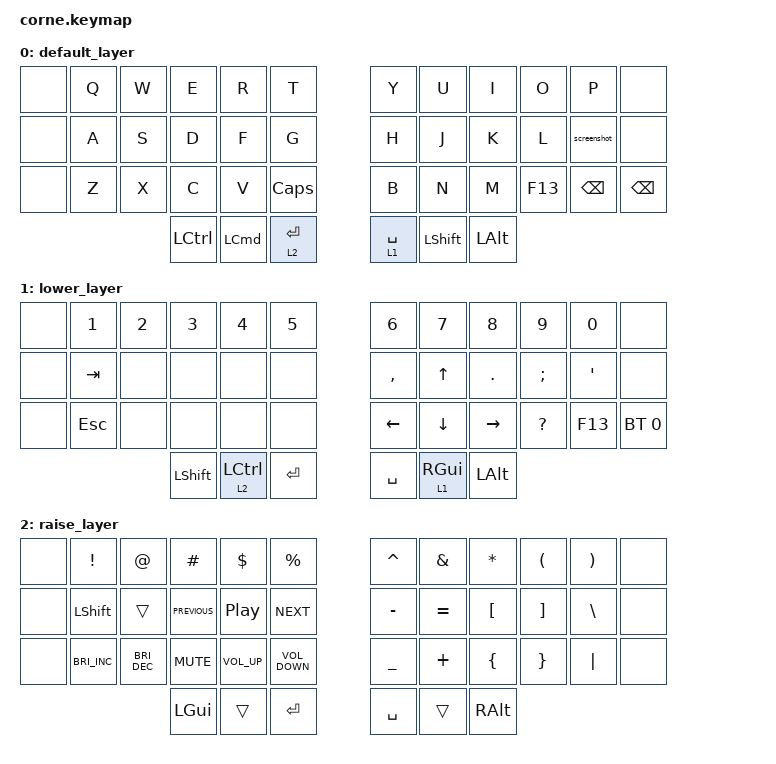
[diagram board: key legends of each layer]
/*
 * Copyright (c) 2020 The ZMK Contributors
 *
 * SPDX-License-Identifier: MIT
 */

#include <behaviors.dtsi>
#include <dt-bindings/zmk/bt.h>
#include <dt-bindings/zmk/keys.h>

/ {
    behaviors {
        layer1command: layer1command {
            compatible = "zmk,behavior-hold-tap";
            label = "LAYER1COMMAND";
            #binding-cells = <2>;
            hold-trigger-key-positions = <40>;
            tapping-term-ms = <200>;
            bindings = <&mo>, <&kp>;

            quick-tap-ms = <99>;
            flavor = "balanced";
            hold-trigger-on-release;
        };

        layer2option: layer2option {
            compatible = "zmk,behavior-hold-tap";
            label = "LAYER2OPTION";
            bindings = <&mo>, <&kp>;

            #binding-cells = <2>;
            hold-trigger-key-positions = <37>;
            tapping-term-ms = <200>;
            quick-tap-ms = <100>;
            flavor = "balanced";
            hold-trigger-on-release;
        };

        esc: esc {
            compatible = "zmk,behavior-hold-tap";
            label = "ESC";
            bindings = <&kp>, <&kp>;

            #binding-cells = <2>;
            tapping-term-ms = <300>;
            hold-trigger-key-positions = <1>;
            quick-tap-ms = <150>;
            flavor = "balanced";
            hold-trigger-on-release;
        };
    };

    combos {
        compatible = "zmk,combos";

        bluetooth {
            bindings = <&none>;
            key-positions = <38 39>;
        };
    };

    macros {
        screenshot: screenshot {
            compatible = "zmk,behavior-macro";
            #binding-cells = <0>;
            bindings =
                <&kp LEFT_SHIFT &kp LS(LEFT_COMMAND) &kp NUMBER_4>,
                <&macro_press>;

            label = "SCREENSHOT";
        };
    };

    keymap {
        compatible = "zmk,keymap";

        default_layer {
            // -----------------------------------------------------------------------------------------
            // |  TAB |  Q  |  W  |  E  |  R  |  T  |   |  Y  |  U   |  I  |  O  |  P  | BSPC |
            // | CTRL |  A  |  S  |  D  |  F  |  G  |   |  H  |  J   |  K  |  L  |  ;  |  '   |
            // | SHFT |  Z  |  X  |  C  |  V  |  B  |   |  N  |  M   |  ,  |  .  |  /  | ESC  |
            //                    | GUI | LWR | SPC |   | ENT | RSE  | ALT |

            bindings = <
&none  &kp Q  &kp W  &kp E             &kp R             &kp T                    &kp Y                  &kp U           &kp I         &kp O    &kp P          &none
&none  &kp A  &kp S  &kp D             &kp F             &kp G                    &kp H                  &kp J           &kp K         &kp L    &screenshot    &none
&none  &kp Z  &kp X  &kp C             &kp V             &kp CAPS                 &kp B                  &kp N           &kp M         &kp F13  &kp BACKSPACE  &kp BSPC
                     &kp LEFT_CONTROL  &kp LEFT_COMMAND  &layer2option 2 ENTER    &layer2option 1 SPACE  &kp LEFT_SHIFT  &kp LEFT_ALT
            >;
        };

        lower_layer {
            // -----------------------------------------------------------------------------------------
            // |  TAB |  1  |  2  |  3  |  4  |  5  |   |  6  |  7  |  8  |  9  |  0  | BSPC |
            // | BTCLR| BT1 | BT2 | BT3 | BT4 | BT5 |   | LFT | DWN |  UP | RGT |     |      |
            // | SHFT |     |     |     |     |     |   |     |     |     |     |     |      |
            //                    | GUI |     | SPC |   | ENT |     | ALT |

            bindings = <
&none  &kp N1      &kp N2  &kp N3     &kp N4                        &kp N5     &kp N6     &kp N7                      &kp N8        &kp N9         &kp N0            &none
&none  &kp TAB     &none   &none      &none                         &none      &kp COMMA  &kp UP                      &kp PERIOD    &kp SEMICOLON  &kp SINGLE_QUOTE  &none
&none  &kp ESCAPE  &none   &none      &none                         &none      &kp LEFT   &kp DOWN                    &kp RIGHT     &kp QUESTION   &kp F13           &bt BT_SEL 0
                           &kp LSHFT  &layer2option 2 LEFT_CONTROL  &kp RET    &kp SPACE  &layer1command 1 RIGHT_GUI  &kp LEFT_ALT
            >;
        };

        raise_layer {
            // -----------------------------------------------------------------------------------------
            // |  TAB |  !  |  @  |  #  |  $  |  %  |   |  ^  |  &  |  *  |  (  |  )  | BSPC |
            // | CTRL |     |     |     |     |     |   |  -  |  =  |  [  |  ]  |  \  |  `   |
            // | SHFT |     |     |     |     |     |   |  _  |  +  |  {  |  }  | "|" |  ~   |
            //                    | GUI |     | SPC |   | ENT |     | ALT |

            bindings = <
&none  &kp EXCL              &kp AT                &kp HASH        &kp DLLR          &kp PRCNT            &kp CARET  &kp AMPS   &kp ASTRK  &kp LPAR  &kp RPAR  &none
&none  &kp LEFT_SHIFT        &trans                &kp C_PREVIOUS  &kp C_PLAY_PAUSE  &kp C_NEXT           &kp MINUS  &kp EQUAL  &kp LBKT   &kp RBKT  &kp BSLH  &none
&none  &kp C_BRIGHTNESS_INC  &kp C_BRIGHTNESS_DEC  &kp C_MUTE      &kp C_VOLUME_UP   &kp C_VOLUME_DOWN    &kp UNDER  &kp PLUS   &kp LBRC   &kp RBRC  &kp PIPE  &none
                                                   &kp LGUI        &trans            &kp ENTER            &kp SPACE  &trans     &kp RALT
            >;
        };
    };
};
